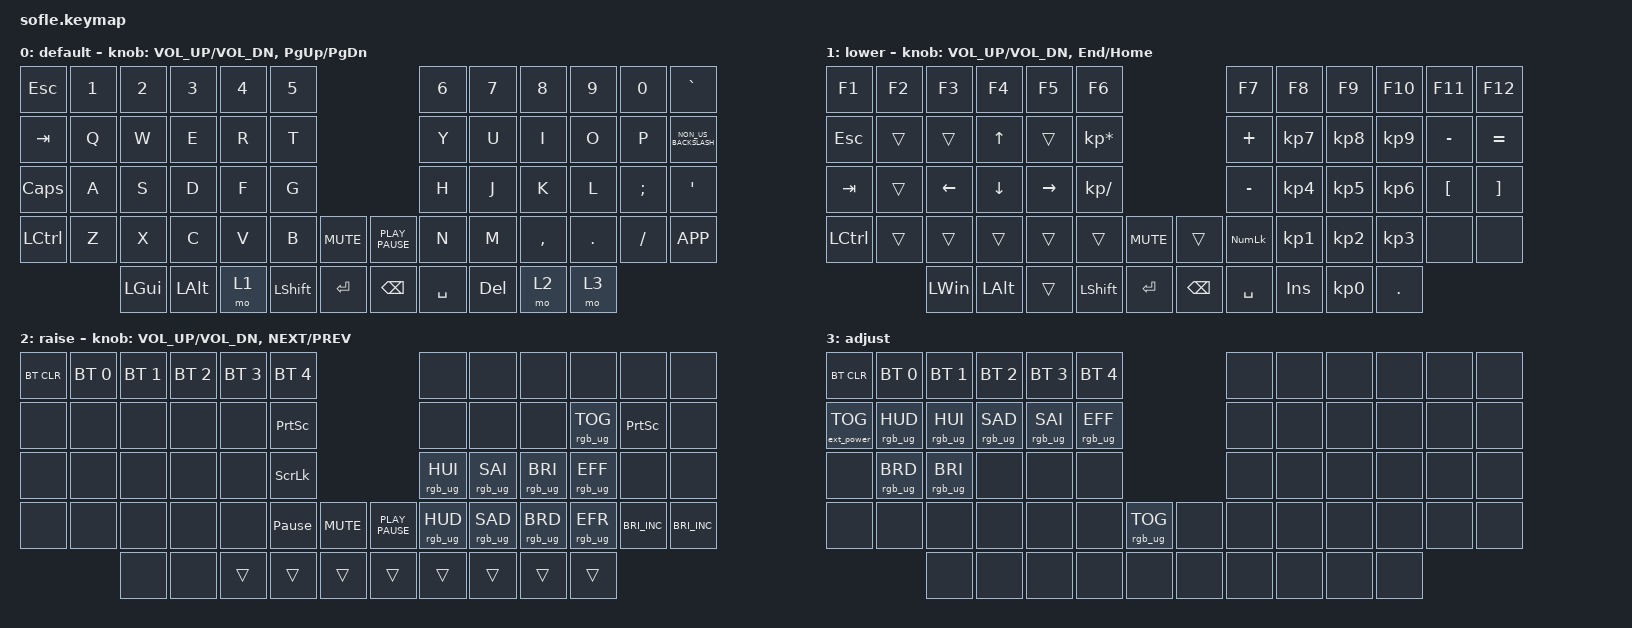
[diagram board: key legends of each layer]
/*
 * Copyright (c) 2020 The ZMK Contributors
 *
 * SPDX-License-Identifier: MIT
 */

#include <behaviors.dtsi>
#include <dt-bindings/zmk/bt.h>
#include <dt-bindings/zmk/ext_power.h>
#include <dt-bindings/zmk/keys.h>
#include <dt-bindings/zmk/rgb.h>

#define BASE 0
#define LOWER 1
#define RAISE 2
#define ADJUST 3

/ {
    // Activate ADJUST layer by pressing raise and lower

    conditional_layers {
        compatible = "zmk,conditional-layers";

        adjust_layer {
            if-layers = <LOWER RAISE>;
            then-layer = <ADJUST>;
        };
    };

    keymap {
        compatible = "zmk,keymap";

        default_layer {
            display-name = "default";

            // ------------------------------------------------------------------------------------------------------------
            // |   `   |  1  |  2  |  3   |  4   |  5   |                   |  6   |  7    |  8    |  9   |   0   |       |
            // |  ESC  |  Q  |  W  |  E   |  R   |  T   |                   |  Y   |  U    |  I    |  O   |   P   | BKSPC |
            // |  TAB  |  A  |  S  |  D   |  F   |  G   |                   |  H   |  J    |  K    |  L   |   ;   |   '   |
            // | SHIFT |  Z  |  X  |  C   |  V   |  B   |  MUTE  |  |       |  N   |  M    |  ,    |  .   |   /   | SHIFT |
            //               | GUI | ALT  | CTRL | LOWER|  ENTER |  | SPACE | RAISE| CTRL  | ALT   | GUI  |

            bindings = <
&kp ESC           &kp N1  &kp N2    &kp N3    &kp N4  &kp N5                                          &kp N6     &kp N7   &kp N8     &kp N9   &kp N0    &kp GRAVE
&kp TAB           &kp Q   &kp W     &kp E     &kp R   &kp T                                           &kp Y      &kp U    &kp I      &kp O    &kp P     &kp NON_US_BACKSLASH
&kp CAPS          &kp A   &kp S     &kp D     &kp F   &kp G                                           &kp H      &kp J    &kp K      &kp L    &kp SEMI  &kp SQT
&kp LEFT_CONTROL  &kp Z   &kp X     &kp C     &kp V   &kp B           &kp K_MUTE    &kp K_PLAY_PAUSE  &kp N      &kp M    &kp COMMA  &kp DOT  &kp FSLH  &kp K_APP
                          &kp LGUI  &kp LALT  &mo 1   &kp LEFT_SHIFT  &kp RET       &kp BACKSPACE     &kp SPACE  &kp DEL  &mo 2      &mo 3
            >;

            sensor-bindings = <&inc_dec_kp C_VOL_UP C_VOL_DN &inc_dec_kp PG_UP PG_DN>;
        };

        lower_layer {
            display-name = "lower";

            // TODO: Some binds are waiting for shifted keycode support.
            // ------------------------------------------------------------------------------------------------------------
            // |       |  F1 |  F2 |  F3  |  F4  |  F5  |                   |  F6  |  F7   |  F8   |  F9  |  F10  |  F11  |
            // |   `   |  1  |  2  |  3   |  4   |  5   |                   |  6   |  7    |  8    |  9   |   0   |  F12  |
            // |       |  !  |  @  |  #   |  $   |  %   |                   |  ^   |  &    |  *    |  (   |   )   |   |   |
            // |       |  =  |  -  |  +   |  {   |  }   |        |  |       |  [   |  ]    |  ;    |  :   |   \   |       |
            //               |     |      |      |      |        |  |       |      |       |       |      |

            bindings = <
&kp F1     &kp F2  &kp F3          &kp F4        &kp F5     &kp F6                                        &kp F7          &kp F8           &kp F9           &kp F10          &kp F11           &kp F12
&kp ESC    &trans  &trans          &kp UP_ARROW  &trans     &kp KP_MULTIPLY                               &kp PLUS        &kp KP_NUMBER_7  &kp KP_NUMBER_8  &kp KP_NUMBER_9  &kp MINUS         &kp EQUAL
&kp TAB    &trans  &kp LEFT_ARROW  &kp DOWN      &kp RIGHT  &kp KP_DIVIDE                                 &kp MINUS       &kp KP_NUMBER_4  &kp KP_NUMBER_5  &kp KP_NUMBER_6  &kp LEFT_BRACKET  &kp RIGHT_BRACKET
&kp LCTRL  &trans  &trans          &trans        &trans     &trans           &kp K_MUTE    &trans         &kp KP_NUMLOCK  &kp KP_NUMBER_1  &kp KP_NUMBER_2  &kp KP_NUMBER_3  &none             &none
                   &kp LEFT_WIN    &kp LEFT_ALT  &trans     &kp LEFT_SHIFT   &kp ENTER     &kp BACKSPACE  &kp SPACE       &kp INS          &kp KP_NUMBER_0  &kp DOT
            >;

            sensor-bindings =
                <&inc_dec_kp C_VOL_UP C_VOL_DN>,
                <&inc_dec_kp END HOME>;
        };

        raise_layer {
            display-name = "raise";

            // ------------------------------------------------------------------------------------------------------------
            // | BTCLR | BT1  | BT2  |  BT3  |  BT4  |  BT5 |                |      |      |       |      |       |       |
            // |       | INS  | PSCR | GUI   |       |      |                | PGUP |      |   ^   |      |       |       |
            // |       | ALT  | CTRL | SHIFT |       | CAPS |                | PGDN |   <- |   v   |  ->  |  DEL  | BKSPC |
            // |       | UNDO | CUT  | COPY  | PASTE |      |      |  |      |      |      |       |      |       |       |
            //                |      |       |       |      |      |  |      |      |      |       |      |

            bindings = <
&bt BT_CLR  &bt BT_SEL 0  &bt BT_SEL 1  &bt BT_SEL 2  &bt BT_SEL 3  &bt BT_SEL 4                                     &none            &none            &none            &none            &none                 &none
&none       &none         &none         &none         &none         &kp PRINTSCREEN                                  &none            &none            &none            &rgb_ug RGB_TOG  &kp PRINTSCREEN       &none
&none       &none         &none         &none         &none         &kp SCROLLLOCK                                   &rgb_ug RGB_HUI  &rgb_ug RGB_SAI  &rgb_ug RGB_BRI  &rgb_ug RGB_EFF  &none                 &none
&none       &none         &none         &none         &none         &kp PAUSE_BREAK  &kp K_MUTE    &kp K_PLAY_PAUSE  &rgb_ug RGB_HUD  &rgb_ug RGB_SAD  &rgb_ug RGB_BRD  &rgb_ug RGB_EFR  &kp C_BRIGHTNESS_INC  &kp C_BRIGHTNESS_INC
                          &none         &none         &trans        &trans           &trans        &trans            &trans           &trans           &trans           &trans
            >;

            sensor-bindings =
                <&inc_dec_kp C_VOL_UP C_VOL_DN>,
                <&inc_dec_kp K_NEXT K_PREV>;
        };

        adjust_layer {
            // ----------------------------------------------------------------------------------------------------------------------------
            // | BTCLR  |  BT1    |  BT2    |   BT3   |   BT4   |   BT5   |                  |      |      |       |      |       |       |
            // | EXTPWR | RGB_HUD | RGB_HUI | RGB_SAD | RGB_SAI | RGB_EFF |                  |      |      |       |      |       |       |
            // |        | RGB_BRD | RGB_BRI |         |         |         |                  |      |      |       |      |       |       |
            // |        |         |         |         |         |         | RGB_TOG | |      |      |      |       |      |       |       |
            //                    |         |         |         |         |         | |      |      |      |       |      |

            display-name = "adjust";
            bindings = <
&bt BT_CLR         &bt BT_SEL 0     &bt BT_SEL 1     &bt BT_SEL 2     &bt BT_SEL 3     &bt BT_SEL 4                               &none  &none  &none  &none  &none  &none
&ext_power EP_TOG  &rgb_ug RGB_HUD  &rgb_ug RGB_HUI  &rgb_ug RGB_SAD  &rgb_ug RGB_SAI  &rgb_ug RGB_EFF                            &none  &none  &none  &none  &none  &none
&none              &rgb_ug RGB_BRD  &rgb_ug RGB_BRI  &none            &none            &none                                      &none  &none  &none  &none  &none  &none
&none              &none            &none            &none            &none            &none            &rgb_ug RGB_TOG    &none  &none  &none  &none  &none  &none  &none
                                    &none            &none            &none            &none            &none              &none  &none  &none  &none  &none
            >;
        };
    };
};
